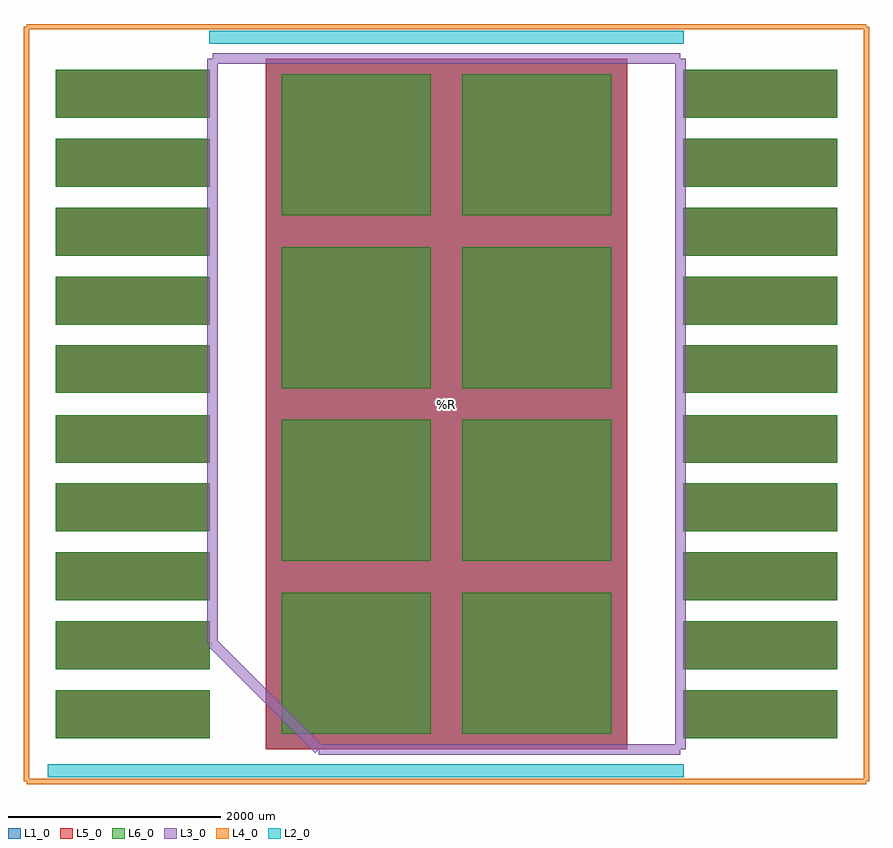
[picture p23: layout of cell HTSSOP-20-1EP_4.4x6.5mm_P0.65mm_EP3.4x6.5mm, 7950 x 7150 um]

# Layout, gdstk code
import gdstk
lib = gdstk.Library(unit=1e-6, precision=1e-09)
def R(c, l, rs):  # rectangles x0, y0, x1, y1
    for r in rs: c.add(gdstk.rectangle(r[:2], r[2:], *l))
def A(c, l, x, y, w, h, nx, ny, dx, dy):  # array of equal rectangles
    R(c, l, [(x+i*dx, y+j*dy, x+i*dx+w, y+j*dy+h) for i in range(nx) for j in range(ny)])
L1_0 = (1, 0)
L2_0 = (2, 0)
L3_0 = (3, 0)
L4_0 = (4, 0)
L5_0 = (5, 0)
L6_0 = (6, 0)

htssop_20_1ep_4_4x6_5mm_ = lib.new_cell('HTSSOP-20-1EP_4.4x6.5mm_P0.65mm_EP3.4x6.5mm')
A(htssop_20_1ep_4_4x6_5mm_, L1_0, -3675, -3145, 1450, 450, 1, 4, 0, 650)
A(htssop_20_1ep_4_4x6_5mm_, L1_0, 2225, -3145, 1450, 450, 1, 4, 0, 650)
A(htssop_20_1ep_4_4x6_5mm_, L1_0, -3675, 745, 1450, 450, 1, 4, 0, 650)
A(htssop_20_1ep_4_4x6_5mm_, L1_0, 2225, 745, 1450, 450, 1, 4, 0, 650)
R(htssop_20_1ep_4_4x6_5mm_, L1_0, [(-1700,-3250,1700,3250), (-3675,-555,-2225,-105), (2225,-555,3675,-105), (-3675,105,-2225,555), (2225,105,3675,555)])
A(htssop_20_1ep_4_4x6_5mm_, L5_0, -3675, -3145, 1450, 450, 1, 4, 0, 650)
A(htssop_20_1ep_4_4x6_5mm_, L5_0, 2225, -3145, 1450, 450, 1, 4, 0, 650)
A(htssop_20_1ep_4_4x6_5mm_, L5_0, -3675, 745, 1450, 450, 1, 4, 0, 650)
A(htssop_20_1ep_4_4x6_5mm_, L5_0, 2225, 745, 1450, 450, 1, 4, 0, 650)
R(htssop_20_1ep_4_4x6_5mm_, L5_0, [(-1700,-3250,1700,3250), (-3675,-555,-2225,-105), (2225,-555,3675,-105), (-3675,105,-2225,555), (2225,105,3675,555)])
A(htssop_20_1ep_4_4x6_5mm_, L6_0, -3675, -3145, 1450, 450, 1, 4, 0, 650)
A(htssop_20_1ep_4_4x6_5mm_, L6_0, 2225, -3145, 1450, 450, 1, 4, 0, 650)
A(htssop_20_1ep_4_4x6_5mm_, L6_0, -1550, -3100, 1400, 1325, 1, 4, 0, 1625)
A(htssop_20_1ep_4_4x6_5mm_, L6_0, 150, -3100, 1400, 1325, 1, 4, 0, 1625)
A(htssop_20_1ep_4_4x6_5mm_, L6_0, -3675, 745, 1450, 450, 1, 4, 0, 650)
A(htssop_20_1ep_4_4x6_5mm_, L6_0, 2225, 745, 1450, 450, 1, 4, 0, 650)
R(htssop_20_1ep_4_4x6_5mm_, L6_0, [(-3675,-555,-2225,-105), (2225,-555,3675,-105), (-3675,105,-2225,555), (2225,105,3675,555)])
htssop_20_1ep_4_4x6_5mm_.add(gdstk.FlexPath([(-1200,-3250),(2200,-3250)], 100, ends="flush", simple_path=True, layer=3, datatype=0))  # L3_0
htssop_20_1ep_4_4x6_5mm_.add(gdstk.FlexPath([(2200,-3250),(2200,3250)], 100, ends="flush", simple_path=True, layer=3, datatype=0))  # L3_0
htssop_20_1ep_4_4x6_5mm_.add(gdstk.FlexPath([(2200,3250),(-2200,3250)], 100, ends="flush", simple_path=True, layer=3, datatype=0))  # L3_0
htssop_20_1ep_4_4x6_5mm_.add(gdstk.FlexPath([(-2200,3250),(-2200,-2250)], 100, ends="flush", simple_path=True, layer=3, datatype=0))  # L3_0
htssop_20_1ep_4_4x6_5mm_.add(gdstk.FlexPath([(-2200,-2250),(-1200,-3250)], 100, ends="flush", simple_path=True, layer=3, datatype=0))  # L3_0
htssop_20_1ep_4_4x6_5mm_.add(gdstk.FlexPath([(-3950,-3550),(-3950,3550)], 50, ends="flush", simple_path=True, layer=4, datatype=0))  # L4_0
htssop_20_1ep_4_4x6_5mm_.add(gdstk.FlexPath([(3950,-3550),(3950,3550)], 50, ends="flush", simple_path=True, layer=4, datatype=0))  # L4_0
htssop_20_1ep_4_4x6_5mm_.add(gdstk.FlexPath([(-3950,-3550),(3950,-3550)], 50, ends="flush", simple_path=True, layer=4, datatype=0))  # L4_0
htssop_20_1ep_4_4x6_5mm_.add(gdstk.FlexPath([(-3950,3550),(3950,3550)], 50, ends="flush", simple_path=True, layer=4, datatype=0))  # L4_0
htssop_20_1ep_4_4x6_5mm_.add(gdstk.FlexPath([(-2230,3450),(2230,3450)], 120, ends="flush", simple_path=True, layer=2, datatype=0))  # L2_0
htssop_20_1ep_4_4x6_5mm_.add(gdstk.FlexPath([(-3750,-3450),(2230,-3450)], 120, ends="flush", simple_path=True, layer=2, datatype=0))  # L2_0
htssop_20_1ep_4_4x6_5mm_.add(gdstk.Label('REF**', (0,-4300), layer=2, texttype=0))
htssop_20_1ep_4_4x6_5mm_.add(gdstk.Label('HTSSOP-20-1EP_4.4x6.5mm_P0.65mm_EP3.4x6.5mm', (0,4300), layer=3, texttype=0))
htssop_20_1ep_4_4x6_5mm_.add(gdstk.Label('%R', (0,0), layer=3, texttype=0))

lib.write_gds('HTSSOP-20-1EP_4.4x6.5mm_P0.65mm_EP3.4x6.5mm.gds')
